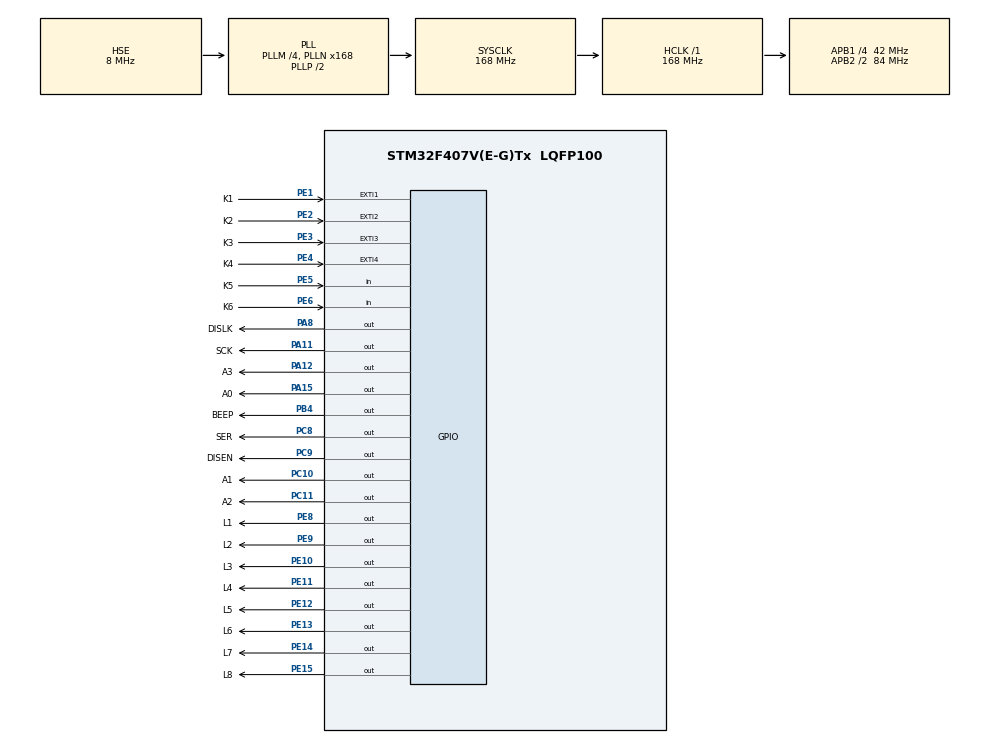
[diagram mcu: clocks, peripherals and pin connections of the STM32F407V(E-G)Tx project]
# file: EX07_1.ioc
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FREERTOS.Tasks01=TaskLED,24,256,StartTaskLED,Default,NULL,Dynamic,NULL,NULL;TaskRTC,8,256,StartTaskRTC,Default,NULL,Dynamic,NULL,NULL;TaskKEY,8,256,StartTaskKEY,Default,NULL,Dynamic,NULL,NULL;TaskSEG,8,128,StartTaskSEG,Default,NULL,Dynamic,NULL,NULL
Mcu.Family=STM32F4
Mcu.Name=STM32F407V(E-G)Tx
Mcu.Package=LQFP100
NVIC.EXTI1_IRQn=true\:5\:0\:true\:false\:true\:true\:true\:true
NVIC.EXTI2_IRQn=true\:5\:0\:true\:false\:true\:true\:true\:true
NVIC.EXTI3_IRQn=true\:5\:0\:true\:false\:true\:true\:true\:true
NVIC.EXTI4_IRQn=true\:5\:0\:true\:false\:true\:true\:true\:true
NVIC.PriorityGroup=NVIC_PRIORITYGROUP_4
NVIC.RTC_Alarm_IRQn=true\:5\:0\:true\:false\:true\:true\:true\:true
NVIC.RTC_WKUP_IRQn=true\:5\:0\:true\:false\:true\:true\:true\:true
NVIC.TIM1_BRK_TIM9_IRQn=true\:0\:0\:false\:false\:true\:false\:false\:true
NVIC.TimeBase=TIM1_BRK_TIM9_IRQn
NVIC.TimeBaseIP=TIM9
PA11.GPIO_Label=SCK
PA11.Signal=GPIO_Output
PA12.GPIO_Label=A3
PA12.Signal=GPIO_Output
PA13.Mode=Serial_Wire
PA13.Signal=SYS_JTMS-SWDIO
PA14.Mode=Serial_Wire
PA14.Signal=SYS_JTCK-SWCLK
PA15.GPIO_Label=A0
PA15.Signal=GPIO_Output
PA8.GPIO_Label=DISLK
PA8.Signal=GPIO_Output
PB4.GPIO_Label=BEEP
PB4.Signal=GPIO_Output
PC10.GPIO_Label=A1
PC10.Signal=GPIO_Output
PC11.GPIO_Label=A2
PC11.Signal=GPIO_Output
PC14-OSC32_IN.Mode=LSE-External-Oscillator
PC14-OSC32_IN.Signal=RCC_OSC32_IN
PC15-OSC32_OUT.Mode=LSE-External-Oscillator
PC15-OSC32_OUT.Signal=RCC_OSC32_OUT
PC8.GPIO_Label=SER
PC8.Signal=GPIO_Output
PC9.GPIO_Label=DISEN
PC9.Signal=GPIO_Output
PE1.GPIO_Label=K1
PE1.GPIO_ModeDefaultEXTI=GPIO_MODE_IT_RISING_FALLING
PE1.GPIO_PuPd=GPIO_PULLUP
PE1.Signal=GPXTI1
PE10.GPIO_Label=L3
PE10.GPIO_ModeDefaultOutputPP=GPIO_MODE_OUTPUT_PP
PE10.GPIO_PuPd=GPIO_NOPULL
PE10.GPIO_Speed=GPIO_SPEED_FREQ_LOW
PE10.PinState=GPIO_PIN_SET
PE10.Signal=GPIO_Output
PE11.GPIO_Label=L4
PE11.GPIO_ModeDefaultOutputPP=GPIO_MODE_OUTPUT_PP
PE11.GPIO_PuPd=GPIO_NOPULL
PE11.GPIO_Speed=GPIO_SPEED_FREQ_LOW
PE11.PinState=GPIO_PIN_SET
PE11.Signal=GPIO_Output
PE12.GPIO_Label=L5
PE12.GPIO_ModeDefaultOutputPP=GPIO_MODE_OUTPUT_PP
PE12.GPIO_PuPd=GPIO_NOPULL
PE12.GPIO_Speed=GPIO_SPEED_FREQ_LOW
PE12.PinState=GPIO_PIN_SET
PE12.Signal=GPIO_Output
PE13.GPIO_Label=L6
PE13.GPIO_ModeDefaultOutputPP=GPIO_MODE_OUTPUT_PP
PE13.GPIO_PuPd=GPIO_NOPULL
PE13.GPIO_Speed=GPIO_SPEED_FREQ_LOW
PE13.PinState=GPIO_PIN_SET
PE13.Signal=GPIO_Output
PE14.GPIO_Label=L7
PE14.GPIO_ModeDefaultOutputPP=GPIO_MODE_OUTPUT_PP
PE14.GPIO_PuPd=GPIO_NOPULL
PE14.GPIO_Speed=GPIO_SPEED_FREQ_LOW
PE14.PinState=GPIO_PIN_SET
PE14.Signal=GPIO_Output
PE15.GPIO_Label=L8
PE15.GPIO_ModeDefaultOutputPP=GPIO_MODE_OUTPUT_PP
PE15.GPIO_PuPd=GPIO_NOPULL
PE15.GPIO_Speed=GPIO_SPEED_FREQ_LOW
PE15.PinState=GPIO_PIN_SET
PE15.Signal=GPIO_Output
PE2.GPIO_Label=K2
PE2.GPIO_ModeDefaultEXTI=GPIO_MODE_IT_RISING_FALLING
PE2.GPIO_PuPd=GPIO_PULLUP
PE2.Signal=GPXTI2
PE3.GPIO_Label=K3
PE3.GPIO_ModeDefaultEXTI=GPIO_MODE_IT_RISING_FALLING
PE3.GPIO_PuPd=GPIO_PULLUP
PE3.Signal=GPXTI3
PE4.GPIO_Label=K4
PE4.GPIO_ModeDefaultEXTI=GPIO_MODE_IT_RISING_FALLING
PE4.GPIO_PuPd=GPIO_PULLUP
PE4.Signal=GPXTI4
PE5.GPIO_Label=K5
PE5.GPIO_PuPd=GPIO_PULLDOWN
PE5.Signal=GPIO_Input
PE6.GPIO_Label=K6
PE6.GPIO_PuPd=GPIO_PULLDOWN
PE6.Signal=GPIO_Input
PE8.GPIO_Label=L1
PE8.GPIO_ModeDefaultOutputPP=GPIO_MODE_OUTPUT_PP
PE8.GPIO_PuPd=GPIO_NOPULL
PE8.GPIO_Speed=GPIO_SPEED_FREQ_LOW
PE8.PinState=GPIO_PIN_SET
PE8.Signal=GPIO_Output
PE9.GPIO_Label=L2
PE9.GPIO_ModeDefaultOutputPP=GPIO_MODE_OUTPUT_PP
PE9.GPIO_PuPd=GPIO_NOPULL
PE9.GPIO_Speed=GPIO_SPEED_FREQ_LOW
PE9.PinState=GPIO_PIN_SET
PE9.Signal=GPIO_Output
PH0-OSC_IN.Mode=HSE-External-Oscillator
PH0-OSC_IN.Signal=RCC_OSC_IN
PH1-OSC_OUT.Mode=HSE-External-Oscillator
PH1-OSC_OUT.Signal=RCC_OSC_OUT
ProjectManager.HeapSize=0x200
ProjectManager.StackSize=0x400
ProjectManager.TargetToolchain=MDK-ARM V5.27
RCC.48MHZClocksFreq_Value=84000000
RCC.AHBFreq_Value=168000000
RCC.APB1CLKDivider=RCC_HCLK_DIV4
RCC.APB1Freq_Value=42000000
RCC.APB1TimFreq_Value=84000000
RCC.APB2CLKDivider=RCC_HCLK_DIV2
RCC.APB2Freq_Value=84000000
RCC.APB2TimFreq_Value=168000000
RCC.CortexFreq_Value=168000000
RCC.HCLKFreq_Value=168000000
RCC.HSE_VALUE=8000000
RCC.HSI_VALUE=16000000
RCC.PLLM=4
RCC.PLLN=168
RCC.PLLSourceVirtual=RCC_PLLSOURCE_HSE
RCC.RCC_RTC_Clock_Source=RCC_RTCCLKSOURCE_LSE
RCC.RCC_RTC_Clock_SourceVirtual=RCC_RTCCLKSOURCE_LSE
RCC.SYSCLKFreq_VALUE=168000000
RCC.SYSCLKSource=RCC_SYSCLKSOURCE_PLLCLK
RCC.VCOOutputFreq_Value=336000000
RTC.Alarm=RTC_ALARM_A
VP_FREERTOS_VS_CMSIS_V2.Mode=CMSIS_V2
VP_RTC_VS_RTC_Activate.Mode=RTC_Enabled
VP_RTC_VS_RTC_Alarm_A_Intern.Mode=Alarm A
VP_RTC_VS_RTC_Calendar.Mode=RTC_Calendar
VP_RTC_VS_RTC_WakeUp_intern.Mode=WakeUp
VP_SYS_VS_tim9.Mode=TIM9
board=custom

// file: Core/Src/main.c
/* USER CODE BEGIN Header */
/**
  ******************************************************************************
  * @file           : main.c
  * @brief          : Main program body
  ******************************************************************************
  * @attention
  *
  * <h2><center>&copy; Copyright (c) 2021 STMicroelectronics.
  * All rights reserved.</center></h2>
  *
  * This software component is licensed by ST under Ultimate Liberty license
  * SLA0044, the "License"; You may not use this file except in compliance with
  * the License. You may obtain a copy of the License at:
  *                             www.st.com/SLA0044
  *
  ******************************************************************************
  */
/* USER CODE END Header */
#include "main.h"
#include "cmsis_os.h"
#include "rtc.h"
#include "gpio.h"

void SystemClock_Config(void);
void MX_FREERTOS_Init(void);

int main(void)
{

  /* MCU Configuration--------------------------------------------------------*/

  /* Reset of all peripherals, Initializes the Flash interface and the Systick. */
  HAL_Init();

  /* Configure the system clock */
  SystemClock_Config();

  /* Initialize all configured peripherals */
  MX_GPIO_Init();
  MX_RTC_Init();
  /* USER CODE BEGIN 2 */
	HAL_RTCEx_DeactivateWakeUpTimer(&hrtc);
	HAL_RTC_DeactivateAlarm(&hrtc,RTC_ALARM_A);
  /* USER CODE END 2 */

  /* Init scheduler */
  osKernelInitialize();  /* Call init function for freertos objects (in freertos.c) */
  MX_FREERTOS_Init();
  /* Start scheduler */
  osKernelStart();

  /* We should never get here as control is now taken by the scheduler */
  /* Infinite loop */
  while (1)
  {

  }
}

void SystemClock_Config(void)
{
  RCC_OscInitTypeDef RCC_OscInitStruct = {0};
  RCC_ClkInitTypeDef RCC_ClkInitStruct = {0};

  /** Configure the main internal regulator output voltage
  */
  __HAL_RCC_PWR_CLK_ENABLE();
  __HAL_PWR_VOLTAGESCALING_CONFIG(PWR_REGULATOR_VOLTAGE_SCALE1);
  /** Initializes the RCC Oscillators according to the specified parameters
  * in the RCC_OscInitTypeDef structure.
  */
  RCC_OscInitStruct.OscillatorType = RCC_OSCILLATORTYPE_HSE|RCC_OSCILLATORTYPE_LSE;
  RCC_OscInitStruct.HSEState = RCC_HSE_ON;
  RCC_OscInitStruct.LSEState = RCC_LSE_ON;
  RCC_OscInitStruct.PLL.PLLState = RCC_PLL_ON;
  RCC_OscInitStruct.PLL.PLLSource = RCC_PLLSOURCE_HSE;
  RCC_OscInitStruct.PLL.PLLM = 4;
  RCC_OscInitStruct.PLL.PLLN = 168;
  RCC_OscInitStruct.PLL.PLLP = RCC_PLLP_DIV2;
  RCC_OscInitStruct.PLL.PLLQ = 4;
  if (HAL_RCC_OscConfig(&RCC_OscInitStruct) != HAL_OK)
  {
    Error_Handler();
  }
  /** Initializes the CPU, AHB and APB buses clocks
  */
  RCC_ClkInitStruct.ClockType = RCC_CLOCKTYPE_HCLK|RCC_CLOCKTYPE_SYSCLK
                              |RCC_CLOCKTYPE_PCLK1|RCC_CLOCKTYPE_PCLK2;
  RCC_ClkInitStruct.SYSCLKSource = RCC_SYSCLKSOURCE_PLLCLK;
  RCC_ClkInitStruct.AHBCLKDivider = RCC_SYSCLK_DIV1;
  RCC_ClkInitStruct.APB1CLKDivider = RCC_HCLK_DIV4;
  RCC_ClkInitStruct.APB2CLKDivider = RCC_HCLK_DIV2;

  if (HAL_RCC_ClockConfig(&RCC_ClkInitStruct, FLASH_LATENCY_5) != HAL_OK)
  {
    Error_Handler();
  }
}

void HAL_TIM_PeriodElapsedCallback(TIM_HandleTypeDef *htim)
{
  if (htim->Instance == TIM9) {
    HAL_IncTick();
  }
}

void Error_Handler(void)
{
  __disable_irq();
  while (1)
  {
  }
}

/************************ (C) COPYRIGHT STMicroelectronics *****END OF FILE****/

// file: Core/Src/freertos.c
/* USER CODE BEGIN Header */
/**
  ******************************************************************************
  * File Name          : freertos.c
  * Description        : Code for freertos applications
  ******************************************************************************
  * @attention
  *
  * <h2><center>&copy; Copyright (c) 2021 STMicroelectronics.
  * All rights reserved.</center></h2>
  *
  * This software component is licensed by ST under Ultimate Liberty license
  * SLA0044, the "License"; You may not use this file except in compliance with
  * the License. You may obtain a copy of the License at:
  *                             www.st.com/SLA0044
  *
  ******************************************************************************
  */
/* USER CODE END Header */

#include "FreeRTOS.h"
#include "task.h"
#include "main.h"
#include "cmsis_os.h"

/* USER CODE BEGIN Includes */
#include "rtc.h"
#include "seg.h"
#include "led.h"
/* USER CODE END Includes */

/* USER CODE BEGIN Variables */
uint8_t seg[4] = {0};

uint8_t able_set = 0;
uint8_t bset = 0;//0 disp 1 set min 2 set sec
uint8_t bfree = 0;

uint16_t beep_time = 0;
uint8_t beep_tune;

/* USER CODE END Variables */
/* Definitions for TaskLED */
osThreadId_t TaskLEDHandle;
const osThreadAttr_t TaskLED_attributes = {
  .name = "TaskLED",
  .stack_size = 256 * 4,
  .priority = (osPriority_t) osPriorityNormal,
};
/* Definitions for TaskRTC */
osThreadId_t TaskRTCHandle;
const osThreadAttr_t TaskRTC_attributes = {
  .name = "TaskRTC",
  .stack_size = 256 * 4,
  .priority = (osPriority_t) osPriorityLow,
};
/* Definitions for TaskKEY */
osThreadId_t TaskKEYHandle;
const osThreadAttr_t TaskKEY_attributes = {
  .name = "TaskKEY",
  .stack_size = 256 * 4,
  .priority = (osPriority_t) osPriorityLow,
};
/* Definitions for TaskSEG */
osThreadId_t TaskSEGHandle;
const osThreadAttr_t TaskSEG_attributes = {
  .name = "TaskSEG",
  .stack_size = 128 * 4,
  .priority = (osPriority_t) osPriorityLow,
};

/* USER CODE BEGIN FunctionPrototypes */
void beep(uint16_t time,uint8_t tune);

void EnterSleepMode(void);
void EnterStopMode(void);
void HAL_GPIO_EXTI_Callback (uint16_t GPIO_Pin);
void HAL_RTCEx_WakeUpTimerEventCallback(RTC_HandleTypeDef *hrtc);
void HAL_RTC_AlarmAEventCallback (RTC_HandleTypeDef *hrtc);

/* USER CODE END FunctionPrototypes */

void StartTaskLED(void *argument);
void StartTaskRTC(void *argument);
void StartTaskKEY(void *argument);
void StartTaskSEG(void *argument);

void MX_FREERTOS_Init(void); /* (MISRA C 2004 rule 8.1) */

void MX_FREERTOS_Init(void) {

  /* Create the thread(s) */
  /* creation of TaskLED */
  TaskLEDHandle = osThreadNew(StartTaskLED, NULL, &TaskLED_attributes);

  /* creation of TaskRTC */
  TaskRTCHandle = osThreadNew(StartTaskRTC, NULL, &TaskRTC_attributes);

  /* creation of TaskKEY */
  TaskKEYHandle = osThreadNew(StartTaskKEY, NULL, &TaskKEY_attributes);

  /* creation of TaskSEG */
  TaskSEGHandle = osThreadNew(StartTaskSEG, NULL, &TaskSEG_attributes);

}

void StartTaskLED(void *argument)
{
  /* USER CODE BEGIN StartTaskLED */
  /* Infinite loop */
  for(;;)
  {
		if(beep_time>0)
		{
			-- beep_time;
			HAL_GPIO_TogglePin(BEEP_GPIO_Port,BEEP_Pin);
			for(volatile uint8_t i = 0;i<beep_tune;++i)
				for(volatile uint16_t j=0;j<3000;++j);
		}

    osDelay(1);
  }
  /* USER CODE END StartTaskLED */
}

void StartTaskRTC(void *argument)
{
  /* USER CODE BEGIN StartTaskRTC */
	HAL_RTCEx_DeactivateWakeUpTimer(&hrtc);
	HAL_RTC_DeactivateAlarm(&hrtc,RTC_ALARM_A);

	uint32_t tick = osKernelGetTickCount();

  /* Infinite loop */
  for(;;)
  {
		if(osKernelGetTickCount()>tick+1000)
		{
			tick = osKernelGetTickCount();
			if(ReadRTCDateTime() == HAL_OK)
			{
				seg[0] = RTC_Min/10;
				seg[1] = RTC_Min%10;
				seg[2] = RTC_Sec/10;
				seg[3] = RTC_Sec%10;

			}

		}

    osDelay(1);
  }
  /* USER CODE END StartTaskRTC */
}

void StartTaskKEY(void *argument)
{
  /* USER CODE BEGIN StartTaskKEY */
	uint32_t press_tick;
  /* Infinite loop */
	uint8_t key;

  for(;;)
  {

		key=ScanKey();

		//����ֹͣģʽ
		if(key>0)
			press_tick = osKernelGetTickCount();

		if(bfree&&osKernelGetTickCount()>=press_tick+10*1000)
		{

			press_tick = osKernelGetTickCount();

			HAL_GPIO_WritePin(A3_GPIO_Port, A3_Pin, GPIO_PIN_RESET);
			EnterStopMode();
		}

		switch (key)
		{
			case KEY1:
					if(bset)
					{
						bset = 1;
						RTC_Min = (RTC_Min+1)%60;
						SetRTCTime(RTC_Hour,RTC_Min,RTC_Sec);
					}

				break;
			case KEY2:
					if(bset)
					{
						bset = 2;
						RTC_Sec = (RTC_Sec+59)%60;
						SetRTCTime(RTC_Hour,RTC_Min,RTC_Sec);
					}
				break;
			case KEY3:
					if(bset)
					{
						bset = 2;
						RTC_Sec = (RTC_Sec+1)%60;
						SetRTCTime(RTC_Hour,RTC_Min,RTC_Sec);
					}
				break;
			case KEY4:
					if(bset)
					{
						bset = 1;
						RTC_Min = (RTC_Min+59)%60;
						SetRTCTime(RTC_Hour,RTC_Min,RTC_Sec);
					}
				break;
			case KEY5:
				bset = !bset;
				break;
			case KEY6:
				bfree = !bfree;
//				Set_leds(0x01);
//				beep(100,20);

				break;
			default:
				break;
		}
    osDelay(50);
  }
  /* USER CODE END StartTaskKEY */
}

void StartTaskSEG(void *argument)
{
  /* USER CODE BEGIN StartTaskSEG */

	int i;
  /* Infinite loop */
  for(;;)
  {
		switch (bset)
    {
    	case 0:
				for(i=0;i<4;i++)
				{
					if((1 == i&&osKernelGetTickCount()%1000>500)||(i==3&&bfree))
					{
						Write595(i,seg[i],1);
					}
					else
						Write595(i,seg[i],0);
					osDelay(5);
				}
    		break;
    	case 1:
				for(i=0;i<4;i++)
				{
					if((0 == i||i==1)&&osKernelGetTickCount()%1000>500)
					{
						Write595(i,16,0);
					}
					else
						Write595(i,seg[i],0);
					osDelay(5);
				}
				break;
    	case 2:
				for(i=0;i<4;i++)
				{
					if((2 == i||i==3)&&osKernelGetTickCount()%1000>500)
					{
						Write595(i,16,0);
					}
					else
						Write595(i,seg[i],0);
					osDelay(5);
				}

    		break;
    	default:
    		break;
    }

    osDelay(1);
  }
  /* USER CODE END StartTaskSEG */
}

/* USER CODE BEGIN Application */
void beep(uint16_t time, uint8_t tune)
{
	beep_time = time;
	beep_tune = tune;
}

void EnterSleepMode(void){ //����˯��ģʽ
	HAL_RTCEx_SetWakeUpTimer_IT(&hrtc,30,RTC_WAKEUPCLOCK_CK_SPRE_16BITS);
	SysTick->CTRL &= ~SysTick_CTRL_ENABLE_Msk;
	HAL_PWR_EnterSLEEPMode(PWR_MAINREGULATOR_ON,PWR_SLEEPENTRY_WFI);
}

void EnterStopMode(void){	//����ֹͣģʽ
	HAL_RTCEx_SetWakeUpTimer_IT(&hrtc,30,RTC_WAKEUPCLOCK_CK_SPRE_16BITS);
	SysTick->CTRL &= ~SysTick_CTRL_ENABLE_Msk;
	HAL_PWR_EnterSTOPMode(PWR_MAINREGULATOR_ON,PWR_SLEEPENTRY_WFI);
}

void HAL_GPIO_EXTI_Callback (uint16_t GPIO_Pin){

	SystemClock_Config();
	SysTick->CTRL |= ~SysTick_CTRL_ENABLE_Msk;
	HAL_RTCEx_DeactivateWakeUpTimer(&hrtc);
	HAL_RTC_DeactivateAlarm(&hrtc, RTC_ALARM_A);

}

void HAL_RTCEx_WakeUpTimerEventCallback(RTC_HandleTypeDef *hrtc){
	SystemClock_Config();
	SysTick->CTRL |= SysTick_CTRL_ENABLE_Msk;
	HAL_RTCEx_DeactivateWakeUpTimer(hrtc);
}

void HAL_RTC_AlarmAEventCallback (RTC_HandleTypeDef *hrtc){
		SystemClock_Config();
		SysTick->CTRL |= SysTick_CTRL_ENABLE_Msk;
		HAL_RTC_DeactivateAlarm(hrtc,RTC_ALARM_A);
}
/* USER CODE END Application */

/************************ (C) COPYRIGHT STMicroelectronics *****END OF FILE****/
